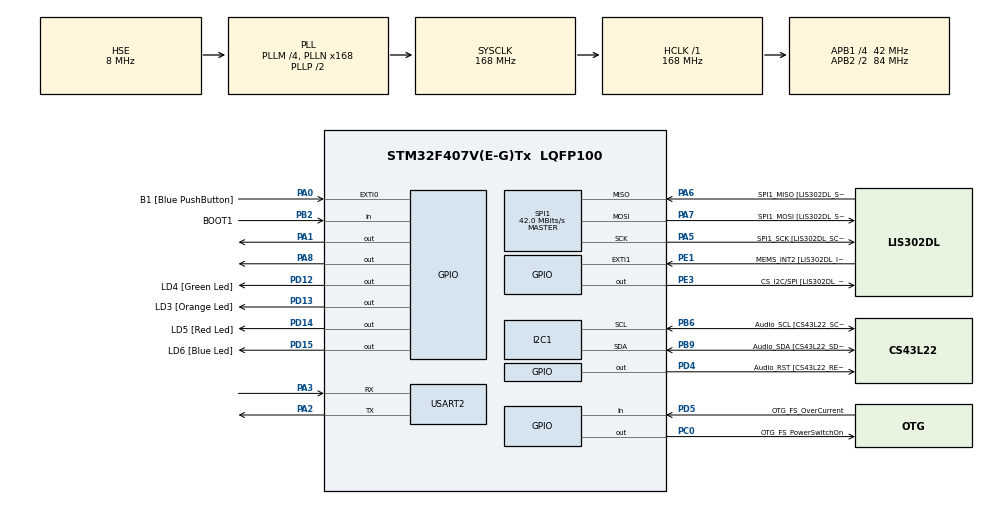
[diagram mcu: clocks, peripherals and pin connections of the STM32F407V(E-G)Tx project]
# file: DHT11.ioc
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Mcu.Family=STM32F4
Mcu.Name=STM32F407V(E-G)Tx
Mcu.Package=LQFP100
NVIC.PriorityGroup=NVIC_PRIORITYGROUP_0
PA0-WKUP.GPIO_Label=B1 [Blue PushButton]
PA0-WKUP.GPIO_ModeDefaultEXTI=GPIO_MODE_EVT_RISING
PA0-WKUP.GPIO_PuPd=GPIO_NOPULL
PA0-WKUP.Signal=GPXTI0
PA1.Signal=GPIO_Output
PA10.GPIO_Label=OTG_FS_ID
PA10.GPIO_Mode=GPIO_MODE_AF_PP
PA10.GPIO_PuPd=GPIO_NOPULL
PA10.GPIO_Speed=GPIO_SPEED_FREQ_LOW
PA10.Signal=USB_OTG_FS_ID
PA11.GPIO_Label=OTG_FS_DM
PA11.GPIO_Mode=GPIO_MODE_AF_PP
PA11.GPIO_PuPd=GPIO_NOPULL
PA11.GPIO_Speed=GPIO_SPEED_FREQ_LOW
PA11.Signal=USB_OTG_FS_DM
PA12.GPIO_Label=OTG_FS_DP
PA12.GPIO_Mode=GPIO_MODE_AF_PP
PA12.GPIO_PuPd=GPIO_NOPULL
PA12.GPIO_Speed=GPIO_SPEED_FREQ_LOW
PA12.Signal=USB_OTG_FS_DP
PA13.GPIO_Label=SWDIO
PA13.Mode=Serial_Wire
PA13.Signal=SYS_JTMS-SWDIO
PA14.GPIO_Label=SWCLK
PA14.Mode=Serial_Wire
PA14.Signal=SYS_JTCK-SWCLK
PA2.Mode=Asynchronous
PA2.Signal=USART2_TX
PA3.Mode=Asynchronous
PA3.Signal=USART2_RX
PA4.GPIO_Label=I2S3_WS [CS43L22_LRCK]
PA4.GPIO_Mode=GPIO_MODE_AF_PP
PA4.GPIO_PuPd=GPIO_NOPULL
PA4.GPIO_Speed=GPIO_SPEED_FREQ_LOW
PA4.Signal=I2S3_WS
PA5.GPIO_Label=SPI1_SCK [LIS302DL_SCL/SPC]
PA5.GPIO_Mode=GPIO_MODE_AF_PP
PA5.GPIO_PuPd=GPIO_NOPULL
PA5.GPIO_Speed=GPIO_SPEED_FREQ_LOW
PA5.Mode=Full_Duplex_Master
PA5.Signal=SPI1_SCK
PA6.GPIO_Label=SPI1_MISO [LIS302DL_SDO]
PA6.GPIO_Mode=GPIO_MODE_AF_PP
PA6.GPIO_PuPd=GPIO_NOPULL
PA6.GPIO_Speed=GPIO_SPEED_FREQ_LOW
PA6.Mode=Full_Duplex_Master
PA6.Signal=SPI1_MISO
PA7.GPIO_Label=SPI1_MOSI [LIS302DL_SDA/SDI/SDO]
PA7.GPIO_Mode=GPIO_MODE_AF_PP
PA7.GPIO_PuPd=GPIO_NOPULL
PA7.GPIO_Speed=GPIO_SPEED_FREQ_LOW
PA7.Mode=Full_Duplex_Master
PA7.Signal=SPI1_MOSI
PA8.Signal=GPIO_Output
PA9.GPIO_Label=VBUS_FS
PA9.GPIO_Mode=GPIO_MODE_INPUT
PA9.GPIO_PuPd=GPIO_NOPULL
PA9.Signal=USB_OTG_FS_VBUS
PB10.GPIO_Label=CLK_IN [MP45DT02_CLK]
PB10.GPIO_Mode=GPIO_MODE_AF_PP
PB10.GPIO_PuPd=GPIO_NOPULL
PB10.GPIO_Speed=GPIO_SPEED_FREQ_LOW
PB10.Signal=I2S2_CK
PB2.GPIO_Label=BOOT1
PB2.GPIO_Mode=GPIO_MODE_INPUT
PB2.GPIO_PuPd=GPIO_NOPULL
PB2.Signal=GPIO_Input
PB3.GPIO_Label=SWO
PB3.Signal=SYS_JTDO-SWO
PB6.GPIO_Label=Audio_SCL [CS43L22_SCL]
PB6.GPIO_Mode=GPIO_MODE_AF_OD
PB6.GPIO_Pu=GPIO_PULLUP
PB6.GPIO_PuPd=GPIO_NOPULL
PB6.GPIO_Speed=GPIO_SPEED_FREQ_LOW
PB6.Mode=I2C
PB6.Signal=I2C1_SCL
PB9.GPIO_Label=Audio_SDA [CS43L22_SDA]
PB9.GPIO_Mode=GPIO_MODE_AF_OD
PB9.GPIO_Pu=GPIO_PULLUP
PB9.GPIO_PuPd=GPIO_NOPULL
PB9.GPIO_Speed=GPIO_SPEED_FREQ_LOW
PB9.Mode=I2C
PB9.Signal=I2C1_SDA
PC0.GPIO_Label=OTG_FS_PowerSwitchOn
PC0.GPIO_PuPd=GPIO_NOPULL
PC0.GPIO_Speed=GPIO_SPEED_FREQ_LOW
PC0.PinState=GPIO_PIN_SET
PC0.Signal=GPIO_Output
PC10.GPIO_Label=I2S3_SCK [CS43L22_SCLK]
PC10.GPIO_Mode=GPIO_MODE_AF_PP
PC10.GPIO_PuPd=GPIO_NOPULL
PC10.GPIO_Speed=GPIO_SPEED_FREQ_LOW
PC10.Signal=I2S3_CK
PC12.GPIO_Label=I2S3_SD [CS43L22_SDIN]
PC12.GPIO_Mode=GPIO_MODE_AF_PP
PC12.GPIO_PuPd=GPIO_NOPULL
PC12.GPIO_Speed=GPIO_SPEED_FREQ_LOW
PC12.Signal=I2S3_SD
PC14-OSC32_IN.GPIO_Label=PC14-OSC32_IN
PC14-OSC32_IN.Mode=LSE-External-Oscillator
PC14-OSC32_IN.Signal=RCC_OSC32_IN
PC15-OSC32_OUT.GPIO_Label=PC15-OSC32_OUT
PC15-OSC32_OUT.Mode=LSE-External-Oscillator
PC15-OSC32_OUT.Signal=RCC_OSC32_OUT
PC3.GPIO_Label=PDM_OUT [MP45DT02_DOUT]
PC3.GPIO_Mode=GPIO_MODE_AF_PP
PC3.GPIO_PuPd=GPIO_NOPULL
PC3.GPIO_Speed=GPIO_SPEED_FREQ_LOW
PC3.Signal=I2S2_SD
PC7.GPIO_Label=I2S3_MCK [CS43L22_MCLK]
PC7.GPIO_Mode=GPIO_MODE_AF_PP
PC7.GPIO_PuPd=GPIO_NOPULL
PC7.GPIO_Speed=GPIO_SPEED_FREQ_LOW
PC7.Signal=I2S3_MCK
PD12.GPIO_Label=LD4 [Green Led]
PD12.GPIO_PuPd=GPIO_NOPULL
PD12.GPIO_Speed=GPIO_SPEED_FREQ_LOW
PD12.Signal=GPIO_Output
PD13.GPIO_Label=LD3 [Orange Led]
PD13.GPIO_PuPd=GPIO_NOPULL
PD13.GPIO_Speed=GPIO_SPEED_FREQ_LOW
PD13.Signal=GPIO_Output
PD14.GPIO_Label=LD5 [Red Led]
PD14.GPIO_PuPd=GPIO_NOPULL
PD14.GPIO_Speed=GPIO_SPEED_FREQ_LOW
PD14.Signal=GPIO_Output
PD15.GPIO_Label=LD6 [Blue Led]
PD15.GPIO_PuPd=GPIO_NOPULL
PD15.GPIO_Speed=GPIO_SPEED_FREQ_LOW
PD15.Signal=GPIO_Output
PD4.GPIO_Label=Audio_RST [CS43L22_RESET]
PD4.GPIO_PuPd=GPIO_NOPULL
PD4.GPIO_Speed=GPIO_SPEED_FREQ_LOW
PD4.Signal=GPIO_Output
PD5.GPIO_Label=OTG_FS_OverCurrent
PD5.GPIO_Mode=GPIO_MODE_INPUT
PD5.GPIO_PuPd=GPIO_NOPULL
PD5.Signal=GPIO_Input
PE1.GPIO_Label=MEMS_INT2 [LIS302DL_INT2]
PE1.GPIO_ModeDefaultEXTI=GPIO_MODE_EVT_RISING
PE1.GPIO_PuPd=GPIO_NOPULL
PE1.Signal=GPXTI1
PE3.GPIO_Label=CS_I2C/SPI [LIS302DL_CS_I2C/SPI]
PE3.GPIO_PuPd=GPIO_NOPULL
PE3.GPIO_Speed=GPIO_SPEED_FREQ_LOW
PE3.Signal=GPIO_Output
PH0-OSC_IN.GPIO_Label=PH0-OSC_IN
PH0-OSC_IN.Mode=HSE-External-Oscillator
PH0-OSC_IN.Signal=RCC_OSC_IN
PH1-OSC_OUT.GPIO_Label=PH1-OSC_OUT
PH1-OSC_OUT.Mode=HSE-External-Oscillator
PH1-OSC_OUT.Signal=RCC_OSC_OUT
ProjectManager.HeapSize=0x200
ProjectManager.StackSize=0x400
ProjectManager.TargetToolchain=STM32CubeIDE
RCC.48MHZClocksFreq_Value=48000000
RCC.AHBFreq_Value=168000000
RCC.APB1CLKDivider=RCC_HCLK_DIV4
RCC.APB1Freq_Value=42000000
RCC.APB1TimFreq_Value=84000000
RCC.APB2CLKDivider=RCC_HCLK_DIV2
RCC.APB2Freq_Value=84000000
RCC.APB2TimFreq_Value=168000000
RCC.CortexFreq_Value=168000000
RCC.HCLKFreq_Value=168000000
RCC.HSE_VALUE=8000000
RCC.HSI_VALUE=16000000
RCC.PLLI2SN=50
RCC.PLLM=4
RCC.PLLN=168
RCC.PLLQ=7
RCC.PLLSourceVirtual=RCC_PLLSOURCE_HSE
RCC.SYSCLKFreq_VALUE=168000000
RCC.SYSCLKSource=RCC_SYSCLKSOURCE_PLLCLK
RCC.VCOOutputFreq_Value=336000000
SPI1.BaudRatePrescaler-Full_Duplex_Master=SPI_BAUDRATEPRESCALER_2
SPI1.CalculateBaudRate=42.0 MBits/s
SPI1.CalculateBaudRate-Full_Duplex_Master=42.0 MBits/s
SPI1.Direction=SPI_DIRECTION_2LINES
SPI1.Mode=SPI_MODE_MASTER
SPI1.Mode-Full_Duplex_Master=SPI_MODE_MASTER
SPI1.VirtualType=VM_MASTER
TIM6.Prescaler=84-1
USART2.VirtualMode=VM_ASYNC
VP_TIM6_VS_ClockSourceINT.Mode=Enable_Timer
board=STM32F407G-DISC1

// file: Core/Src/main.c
/* USER CODE BEGIN Header */
/**
  ******************************************************************************
  * @file           : main.c
  * @brief          : Main program body
  ******************************************************************************
  * @attention
  *
  * Copyright (c) 2023 STMicroelectronics.
  * All rights reserved.
  *
  * This software is licensed under terms that can be found in the LICENSE file
  * in the root directory of this software component.
  * If no LICENSE file comes with this software, it is provided AS-IS.
  *
  ******************************************************************************
  */
/* USER CODE END Header */
#include "main.h"

I2C_HandleTypeDef hi2c1;

SPI_HandleTypeDef hspi1;

TIM_HandleTypeDef htim6;

UART_HandleTypeDef huart2;

void SystemClock_Config(void);
static void MX_GPIO_Init(void);
static void MX_I2C1_Init(void);
static void MX_SPI1_Init(void);
static void MX_TIM6_Init(void);
static void MX_USART2_UART_Init(void);

/* USER CODE BEGIN 0 */
void delay(uint16_t delays){
	for (uint16_t i =1; i<=delays; i++){
		uint16_t start = TIM6->CNT;
		while((TIM6->CNT - start)< 1);
	}
}
int _write(int file, char* p, int len){
	HAL_UART_Transmit(&huart2, p, len, 10);
	return len;
}
uint8_t Rh_byte1, Rh_byte2, Temp_byte1, Temp_byte2, sum;
uint16_t SUM, RH, TEMP;

float Temperature = 0;
float Humidity = 0;
uint8_t Presence = 0;

void Set_Pin_Output (GPIO_TypeDef *GPIOx, uint16_t GPIO_Pin)
{
	GPIO_InitTypeDef GPIO_InitStruct = {0};
	GPIO_InitStruct.Pin = GPIO_Pin;
	GPIO_InitStruct.Mode = GPIO_MODE_OUTPUT_PP;
	GPIO_InitStruct.Speed = GPIO_SPEED_FREQ_LOW;
	HAL_GPIO_Init(GPIOx, &GPIO_InitStruct);
}

void Set_Pin_Input (GPIO_TypeDef *GPIOx, uint16_t GPIO_Pin)
{
	GPIO_InitTypeDef GPIO_InitStruct = {0};
	GPIO_InitStruct.Pin = GPIO_Pin;
	GPIO_InitStruct.Mode = GPIO_MODE_INPUT;
	GPIO_InitStruct.Pull = GPIO_NOPULL;
	HAL_GPIO_Init(GPIOx, &GPIO_InitStruct);
}
#define DHT11_PORT GPIOA
#define DHT11_PIN GPIO_PIN_1

void DHT11_Start (void)
{
	Set_Pin_Output(DHT11_PORT, DHT11_PIN);  // set the pin as output
	   // pull the pin low
	HAL_GPIO_WritePin(DHT11_PORT, DHT11_PIN, GPIO_PIN_RESET);
	delay(18000);   // wait for 18ms
    HAL_GPIO_WritePin(DHT11_PORT, DHT11_PIN, GPIO_PIN_SET);   // pull the pin high
	delay(20);   // wait for 20us
	Set_Pin_Input(DHT11_PORT, DHT11_PIN);    // set as input
}

uint8_t DHT11_Check_Response (void)
{
	uint8_t Response = 0;
	delay (40);
	if (!(HAL_GPIO_ReadPin (DHT11_PORT, DHT11_PIN)))
	{
		delay (80);
		if ((HAL_GPIO_ReadPin (DHT11_PORT, DHT11_PIN))) Response = 1;
		else Response = -1; // 255
	}
	while ((HAL_GPIO_ReadPin (DHT11_PORT, DHT11_PIN)));   // wait for the pin to go low

	return Response;
}

uint8_t DHT11_Read (void)
{
	uint8_t i,j;
	for (i=0;i<8;i++)
	{
		while (!(HAL_GPIO_ReadPin (DHT11_PORT, DHT11_PIN)));   // wait for the pin to go high
		delay (40);   // wait for 40 us
		if ((HAL_GPIO_ReadPin (DHT11_PORT, DHT11_PIN)))   // if the pin is low
		{
			j = j<<1 | 0x01;   // write 1
		}
		else {
			j = j<<1;
			// if the pin is high, write 0
		}
		while ((HAL_GPIO_ReadPin (DHT11_PORT, DHT11_PIN)));  // wait for the pin to go low
	}
	return j;
}
/* USER CODE END 0 */

int main(void)
{

  /* MCU Configuration--------------------------------------------------------*/

  /* Reset of all peripherals, Initializes the Flash interface and the Systick. */
  HAL_Init();

  /* Configure the system clock */
  SystemClock_Config();

  /* Initialize all configured peripherals */
  MX_GPIO_Init();
  MX_I2C1_Init();
  MX_SPI1_Init();
  MX_TIM6_Init();
  MX_USART2_UART_Init();
  /* USER CODE BEGIN 2 */
  HAL_TIM_Base_Start(&htim6);
  //uint8_t res;
  /* USER CODE END 2 */

  /* Infinite loop */
  while (1)
  {
//	  HAL_GPIO_TogglePin(GPIOA, GPIO_PIN_1);
//	  delay(10);
	  DHT11_Start();
	  Presence = DHT11_Check_Response();
	  Rh_byte1 = DHT11_Read();
	  Rh_byte2 = DHT11_Read();
	  Temp_byte1 = DHT11_Read();
	  Temp_byte2 = DHT11_Read();
	  sum = DHT11_Read();

	  Temperature = (float)Temp_byte1;
	  printf("The temperature is %f\n", Temperature);

	  HAL_Delay(1000);
    /* USER CODE BEGIN 3 */
//		  HAL_Delay(2000);
  }
  /* USER CODE END 3 */
}

void SystemClock_Config(void)
{
  RCC_OscInitTypeDef RCC_OscInitStruct = {0};
  RCC_ClkInitTypeDef RCC_ClkInitStruct = {0};

  /** Configure the main internal regulator output voltage
  */
  __HAL_RCC_PWR_CLK_ENABLE();
  __HAL_PWR_VOLTAGESCALING_CONFIG(PWR_REGULATOR_VOLTAGE_SCALE1);

  /** Initializes the RCC Oscillators according to the specified parameters
  * in the RCC_OscInitTypeDef structure.
  */
  RCC_OscInitStruct.OscillatorType = RCC_OSCILLATORTYPE_HSE;
  RCC_OscInitStruct.HSEState = RCC_HSE_ON;
  RCC_OscInitStruct.PLL.PLLState = RCC_PLL_ON;
  RCC_OscInitStruct.PLL.PLLSource = RCC_PLLSOURCE_HSE;
  RCC_OscInitStruct.PLL.PLLM = 4;
  RCC_OscInitStruct.PLL.PLLN = 168;
  RCC_OscInitStruct.PLL.PLLP = RCC_PLLP_DIV2;
  RCC_OscInitStruct.PLL.PLLQ = 7;
  if (HAL_RCC_OscConfig(&RCC_OscInitStruct) != HAL_OK)
  {
    Error_Handler();
  }

  /** Initializes the CPU, AHB and APB buses clocks
  */
  RCC_ClkInitStruct.ClockType = RCC_CLOCKTYPE_HCLK|RCC_CLOCKTYPE_SYSCLK
                              |RCC_CLOCKTYPE_PCLK1|RCC_CLOCKTYPE_PCLK2;
  RCC_ClkInitStruct.SYSCLKSource = RCC_SYSCLKSOURCE_PLLCLK;
  RCC_ClkInitStruct.AHBCLKDivider = RCC_SYSCLK_DIV1;
  RCC_ClkInitStruct.APB1CLKDivider = RCC_HCLK_DIV4;
  RCC_ClkInitStruct.APB2CLKDivider = RCC_HCLK_DIV2;

  if (HAL_RCC_ClockConfig(&RCC_ClkInitStruct, FLASH_LATENCY_5) != HAL_OK)
  {
    Error_Handler();
  }
}

static void MX_I2C1_Init(void)
{

  hi2c1.Instance = I2C1;
  hi2c1.Init.ClockSpeed = 100000;
  hi2c1.Init.DutyCycle = I2C_DUTYCYCLE_2;
  hi2c1.Init.OwnAddress1 = 0;
  hi2c1.Init.AddressingMode = I2C_ADDRESSINGMODE_7BIT;
  hi2c1.Init.DualAddressMode = I2C_DUALADDRESS_DISABLE;
  hi2c1.Init.OwnAddress2 = 0;
  hi2c1.Init.GeneralCallMode = I2C_GENERALCALL_DISABLE;
  hi2c1.Init.NoStretchMode = I2C_NOSTRETCH_DISABLE;
  if (HAL_I2C_Init(&hi2c1) != HAL_OK)
  {
    Error_Handler();
  }

}

static void MX_SPI1_Init(void)
{

  /* SPI1 parameter configuration*/
  hspi1.Instance = SPI1;
  hspi1.Init.Mode = SPI_MODE_MASTER;
  hspi1.Init.Direction = SPI_DIRECTION_2LINES;
  hspi1.Init.DataSize = SPI_DATASIZE_8BIT;
  hspi1.Init.CLKPolarity = SPI_POLARITY_LOW;
  hspi1.Init.CLKPhase = SPI_PHASE_1EDGE;
  hspi1.Init.NSS = SPI_NSS_SOFT;
  hspi1.Init.BaudRatePrescaler = SPI_BAUDRATEPRESCALER_2;
  hspi1.Init.FirstBit = SPI_FIRSTBIT_MSB;
  hspi1.Init.TIMode = SPI_TIMODE_DISABLE;
  hspi1.Init.CRCCalculation = SPI_CRCCALCULATION_DISABLE;
  hspi1.Init.CRCPolynomial = 10;
  if (HAL_SPI_Init(&hspi1) != HAL_OK)
  {
    Error_Handler();
  }

}

static void MX_TIM6_Init(void)
{

  TIM_MasterConfigTypeDef sMasterConfig = {0};

  htim6.Instance = TIM6;
  htim6.Init.Prescaler = 84-1;
  htim6.Init.CounterMode = TIM_COUNTERMODE_UP;
  htim6.Init.Period = 65535;
  htim6.Init.AutoReloadPreload = TIM_AUTORELOAD_PRELOAD_DISABLE;
  if (HAL_TIM_Base_Init(&htim6) != HAL_OK)
  {
    Error_Handler();
  }
  sMasterConfig.MasterOutputTrigger = TIM_TRGO_RESET;
  sMasterConfig.MasterSlaveMode = TIM_MASTERSLAVEMODE_DISABLE;
  if (HAL_TIMEx_MasterConfigSynchronization(&htim6, &sMasterConfig) != HAL_OK)
  {
    Error_Handler();
  }

}

static void MX_USART2_UART_Init(void)
{

  huart2.Instance = USART2;
  huart2.Init.BaudRate = 115200;
  huart2.Init.WordLength = UART_WORDLENGTH_8B;
  huart2.Init.StopBits = UART_STOPBITS_1;
  huart2.Init.Parity = UART_PARITY_NONE;
  huart2.Init.Mode = UART_MODE_TX_RX;
  huart2.Init.HwFlowCtl = UART_HWCONTROL_NONE;
  huart2.Init.OverSampling = UART_OVERSAMPLING_16;
  if (HAL_UART_Init(&huart2) != HAL_OK)
  {
    Error_Handler();
  }

}

static void MX_GPIO_Init(void)
{
  GPIO_InitTypeDef GPIO_InitStruct = {0};

  /* GPIO Ports Clock Enable */
  __HAL_RCC_GPIOE_CLK_ENABLE();
  __HAL_RCC_GPIOC_CLK_ENABLE();
  __HAL_RCC_GPIOH_CLK_ENABLE();
  __HAL_RCC_GPIOA_CLK_ENABLE();
  __HAL_RCC_GPIOB_CLK_ENABLE();
  __HAL_RCC_GPIOD_CLK_ENABLE();

  /*Configure GPIO pin Output Level */
  HAL_GPIO_WritePin(CS_I2C_SPI_GPIO_Port, CS_I2C_SPI_Pin, GPIO_PIN_RESET);

  /*Configure GPIO pin Output Level */
  HAL_GPIO_WritePin(OTG_FS_PowerSwitchOn_GPIO_Port, OTG_FS_PowerSwitchOn_Pin, GPIO_PIN_SET);

  /*Configure GPIO pin Output Level */
  HAL_GPIO_WritePin(GPIOA, GPIO_PIN_1|GPIO_PIN_8, GPIO_PIN_RESET);

  /*Configure GPIO pin Output Level */
  HAL_GPIO_WritePin(GPIOD, LD4_Pin|LD3_Pin|LD5_Pin|LD6_Pin
                          |Audio_RST_Pin, GPIO_PIN_RESET);

  /*Configure GPIO pin : CS_I2C_SPI_Pin */
  GPIO_InitStruct.Pin = CS_I2C_SPI_Pin;
  GPIO_InitStruct.Mode = GPIO_MODE_OUTPUT_PP;
  GPIO_InitStruct.Pull = GPIO_NOPULL;
  GPIO_InitStruct.Speed = GPIO_SPEED_FREQ_LOW;
  HAL_GPIO_Init(CS_I2C_SPI_GPIO_Port, &GPIO_InitStruct);

  /*Configure GPIO pin : OTG_FS_PowerSwitchOn_Pin */
  GPIO_InitStruct.Pin = OTG_FS_PowerSwitchOn_Pin;
  GPIO_InitStruct.Mode = GPIO_MODE_OUTPUT_PP;
  GPIO_InitStruct.Pull = GPIO_NOPULL;
  GPIO_InitStruct.Speed = GPIO_SPEED_FREQ_LOW;
  HAL_GPIO_Init(OTG_FS_PowerSwitchOn_GPIO_Port, &GPIO_InitStruct);

  /*Configure GPIO pin : PDM_OUT_Pin */
  GPIO_InitStruct.Pin = PDM_OUT_Pin;
  GPIO_InitStruct.Mode = GPIO_MODE_AF_PP;
  GPIO_InitStruct.Pull = GPIO_NOPULL;
  GPIO_InitStruct.Speed = GPIO_SPEED_FREQ_LOW;
  GPIO_InitStruct.Alternate = GPIO_AF5_SPI2;
  HAL_GPIO_Init(PDM_OUT_GPIO_Port, &GPIO_InitStruct);

  /*Configure GPIO pin : B1_Pin */
  GPIO_InitStruct.Pin = B1_Pin;
  GPIO_InitStruct.Mode = GPIO_MODE_EVT_RISING;
  GPIO_InitStruct.Pull = GPIO_NOPULL;
  HAL_GPIO_Init(B1_GPIO_Port, &GPIO_InitStruct);

  /*Configure GPIO pins : PA1 PA8 */
  GPIO_InitStruct.Pin = GPIO_PIN_1|GPIO_PIN_8;
  GPIO_InitStruct.Mode = GPIO_MODE_OUTPUT_PP;
  GPIO_InitStruct.Pull = GPIO_NOPULL;
  GPIO_InitStruct.Speed = GPIO_SPEED_FREQ_LOW;
  HAL_GPIO_Init(GPIOA, &GPIO_InitStruct);

  /*Configure GPIO pin : I2S3_WS_Pin */
  GPIO_InitStruct.Pin = I2S3_WS_Pin;
  GPIO_InitStruct.Mode = GPIO_MODE_AF_PP;
  GPIO_InitStruct.Pull = GPIO_NOPULL;
  GPIO_InitStruct.Speed = GPIO_SPEED_FREQ_LOW;
  GPIO_InitStruct.Alternate = GPIO_AF6_SPI3;
  HAL_GPIO_Init(I2S3_WS_GPIO_Port, &GPIO_InitStruct);

  /*Configure GPIO pin : BOOT1_Pin */
  GPIO_InitStruct.Pin = BOOT1_Pin;
  GPIO_InitStruct.Mode = GPIO_MODE_INPUT;
  GPIO_InitStruct.Pull = GPIO_NOPULL;
  HAL_GPIO_Init(BOOT1_GPIO_Port, &GPIO_InitStruct);

  /*Configure GPIO pin : CLK_IN_Pin */
  GPIO_InitStruct.Pin = CLK_IN_Pin;
  GPIO_InitStruct.Mode = GPIO_MODE_AF_PP;
  GPIO_InitStruct.Pull = GPIO_NOPULL;
  GPIO_InitStruct.Speed = GPIO_SPEED_FREQ_LOW;
  GPIO_InitStruct.Alternate = GPIO_AF5_SPI2;
  HAL_GPIO_Init(CLK_IN_GPIO_Port, &GPIO_InitStruct);

  /*Configure GPIO pins : LD4_Pin LD3_Pin LD5_Pin LD6_Pin
                           Audio_RST_Pin */
  GPIO_InitStruct.Pin = LD4_Pin|LD3_Pin|LD5_Pin|LD6_Pin
                          |Audio_RST_Pin;
  GPIO_InitStruct.Mode = GPIO_MODE_OUTPUT_PP;
  GPIO_InitStruct.Pull = GPIO_NOPULL;
  GPIO_InitStruct.Speed = GPIO_SPEED_FREQ_LOW;
  HAL_GPIO_Init(GPIOD, &GPIO_InitStruct);

  /*Configure GPIO pins : I2S3_MCK_Pin I2S3_SCK_Pin I2S3_SD_Pin */
  GPIO_InitStruct.Pin = I2S3_MCK_Pin|I2S3_SCK_Pin|I2S3_SD_Pin;
  GPIO_InitStruct.Mode = GPIO_MODE_AF_PP;
  GPIO_InitStruct.Pull = GPIO_NOPULL;
  GPIO_InitStruct.Speed = GPIO_SPEED_FREQ_LOW;
  GPIO_InitStruct.Alternate = GPIO_AF6_SPI3;
  HAL_GPIO_Init(GPIOC, &GPIO_InitStruct);

  /*Configure GPIO pin : VBUS_FS_Pin */
  GPIO_InitStruct.Pin = VBUS_FS_Pin;
  GPIO_InitStruct.Mode = GPIO_MODE_INPUT;
  GPIO_InitStruct.Pull = GPIO_NOPULL;
  HAL_GPIO_Init(VBUS_FS_GPIO_Port, &GPIO_InitStruct);

  /*Configure GPIO pins : OTG_FS_ID_Pin OTG_FS_DM_Pin OTG_FS_DP_Pin */
  GPIO_InitStruct.Pin = OTG_FS_ID_Pin|OTG_FS_DM_Pin|OTG_FS_DP_Pin;
  GPIO_InitStruct.Mode = GPIO_MODE_AF_PP;
  GPIO_InitStruct.Pull = GPIO_NOPULL;
  GPIO_InitStruct.Speed = GPIO_SPEED_FREQ_LOW;
  GPIO_InitStruct.Alternate = GPIO_AF10_OTG_FS;
  HAL_GPIO_Init(GPIOA, &GPIO_InitStruct);

  /*Configure GPIO pin : OTG_FS_OverCurrent_Pin */
  GPIO_InitStruct.Pin = OTG_FS_OverCurrent_Pin;
  GPIO_InitStruct.Mode = GPIO_MODE_INPUT;
  GPIO_InitStruct.Pull = GPIO_NOPULL;
  HAL_GPIO_Init(OTG_FS_OverCurrent_GPIO_Port, &GPIO_InitStruct);

  /*Configure GPIO pin : MEMS_INT2_Pin */
  GPIO_InitStruct.Pin = MEMS_INT2_Pin;
  GPIO_InitStruct.Mode = GPIO_MODE_EVT_RISING;
  GPIO_InitStruct.Pull = GPIO_NOPULL;
  HAL_GPIO_Init(MEMS_INT2_GPIO_Port, &GPIO_InitStruct);

}

void Error_Handler(void)
{
  __disable_irq();
  while (1)
  {
  }
}
